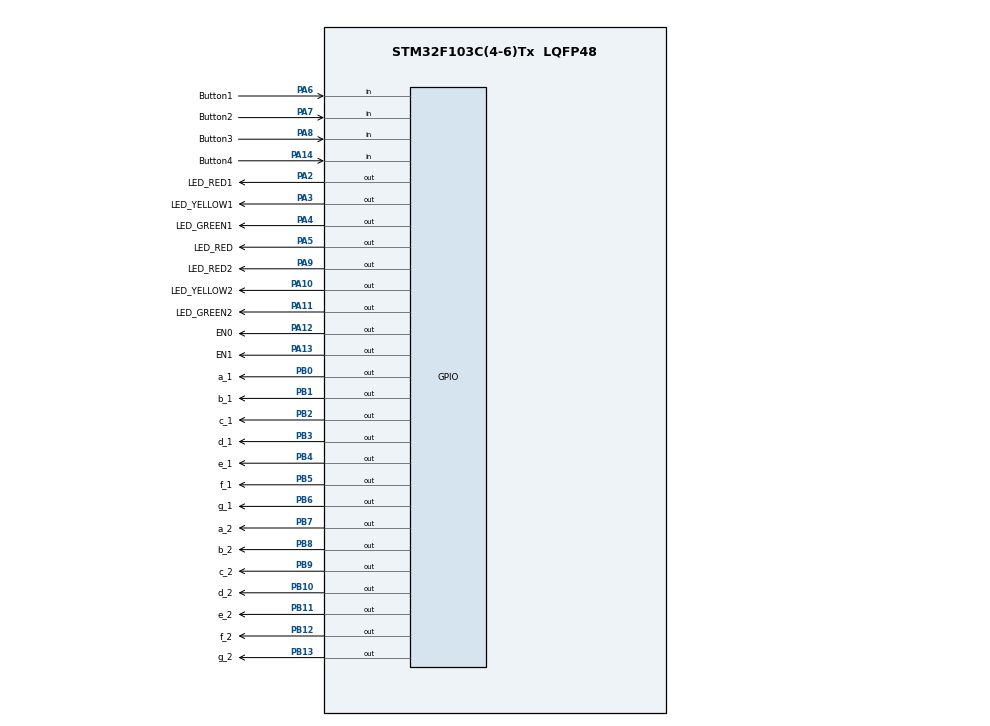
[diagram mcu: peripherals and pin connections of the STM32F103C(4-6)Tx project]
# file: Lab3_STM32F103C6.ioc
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Mcu.Family=STM32F1
Mcu.Name=STM32F103C(4-6)Tx
Mcu.Package=LQFP48
NVIC.PriorityGroup=NVIC_PRIORITYGROUP_4
NVIC.TIM2_IRQn=true\:0\:0\:false\:false\:true\:true\:true
PA10.GPIO_Label=LED_YELLOW2
PA10.Signal=GPIO_Output
PA11.GPIO_Label=LED_GREEN2
PA11.Signal=GPIO_Output
PA12.GPIO_Label=EN0
PA12.Signal=GPIO_Output
PA13.GPIO_Label=EN1
PA13.Signal=GPIO_Output
PA14.GPIO_Label=Button4
PA14.GPIO_PuPd=GPIO_PULLUP
PA14.Signal=GPIO_Input
PA2.GPIO_Label=LED_RED1
PA2.Signal=GPIO_Output
PA3.GPIO_Label=LED_YELLOW1
PA3.Signal=GPIO_Output
PA4.GPIO_Label=LED_GREEN1
PA4.Signal=GPIO_Output
PA5.GPIO_Label=LED_RED
PA5.Signal=GPIO_Output
PA6.GPIO_Label=Button1
PA6.GPIO_PuPd=GPIO_PULLUP
PA6.Signal=GPIO_Input
PA7.GPIO_Label=Button2
PA7.GPIO_PuPd=GPIO_PULLUP
PA7.Signal=GPIO_Input
PA8.GPIO_Label=Button3
PA8.GPIO_PuPd=GPIO_PULLUP
PA8.Signal=GPIO_Input
PA9.GPIO_Label=LED_RED2
PA9.Signal=GPIO_Output
PB0.GPIO_Label=a_1
PB0.Signal=GPIO_Output
PB1.GPIO_Label=b_1
PB1.Signal=GPIO_Output
PB10.GPIO_Label=d_2
PB10.Signal=GPIO_Output
PB11.GPIO_Label=e_2
PB11.Signal=GPIO_Output
PB12.GPIO_Label=f_2
PB12.Signal=GPIO_Output
PB13.GPIO_Label=g_2
PB13.Signal=GPIO_Output
PB2.GPIO_Label=c_1
PB2.Signal=GPIO_Output
PB3.GPIO_Label=d_1
PB3.Signal=GPIO_Output
PB4.GPIO_Label=e_1
PB4.Signal=GPIO_Output
PB5.GPIO_Label=f_1
PB5.Signal=GPIO_Output
PB6.GPIO_Label=g_1
PB6.Signal=GPIO_Output
PB7.GPIO_Label=a_2
PB7.Signal=GPIO_Output
PB8.GPIO_Label=b_2
PB8.Signal=GPIO_Output
PB9.GPIO_Label=c_2
PB9.Signal=GPIO_Output
ProjectManager.HeapSize=0x200
ProjectManager.StackSize=0x400
ProjectManager.TargetToolchain=STM32CubeIDE
RCC.APB1Freq_Value=8000000
RCC.APB2Freq_Value=8000000
TIM2.Period=9
TIM2.Prescaler=7999
VP_SYS_VS_ND.Mode=No_Debug
VP_TIM2_VS_ClockSourceINT.Mode=Internal
board=custom

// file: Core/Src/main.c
/* USER CODE BEGIN Header */
/**
  ******************************************************************************
  * @file           : main.c
  * @brief          : Main program body
  ******************************************************************************
  * @attention
  *
  * <h2><center>&copy; Copyright (c) 2025 STMicroelectronics.
  * All rights reserved.</center></h2>
  *
  * This software component is licensed by ST under BSD 3-Clause license,
  * the "License"; You may not use this file except in compliance with the
  * License. You may obtain a copy of the License at:
  *                        opensource.org/licenses/BSD-3-Clause
  *
  ******************************************************************************
  */
/* USER CODE END Header */
#include "main.h"

/* USER CODE BEGIN Includes */
#include "global.h"
/* USER CODE END Includes */

TIM_HandleTypeDef htim2;

void SystemClock_Config(void);
static void MX_GPIO_Init(void);
static void MX_TIM2_Init(void);

int main(void)
{

  /* MCU Configuration--------------------------------------------------------*/

  /* Reset of all peripherals, Initializes the Flash interface and the Systick. */
  HAL_Init();

  /* Configure the system clock */
  SystemClock_Config();

  /* Initialize all configured peripherals */
  MX_GPIO_Init();
  MX_TIM2_Init();
  /* USER CODE BEGIN 2 */
  HAL_TIM_Base_Start_IT(&htim2);
  status1 = INIT;
  status2 = INIT;
  setTimer(0, 100); // Blink PA5 LED
  setTimer(3, 50); // Blink 7SEG and single LEDs when moding
  HAL_GPIO_WritePin(EN0_GPIO_Port, EN0_Pin, RESET);
  HAL_GPIO_WritePin(EN1_GPIO_Port, EN1_Pin, RESET);
  /* USER CODE END 2 */

  /* Infinite loop */
  while (1)
  {

    /* USER CODE BEGIN 3 */
	  if (isTimeExpired(0) == 1)
	  {
		  setTimer(0, 100);
		  HAL_GPIO_TogglePin(LED_RED_GPIO_Port, LED_RED_Pin);
	  }

	  fsm_automatic_run();
	  fsm_manual_run();
	  fsm_config();
  }
  /* USER CODE END 3 */
}

void SystemClock_Config(void)
{
  RCC_OscInitTypeDef RCC_OscInitStruct = {0};
  RCC_ClkInitTypeDef RCC_ClkInitStruct = {0};

  /** Initializes the RCC Oscillators according to the specified parameters
  * in the RCC_OscInitTypeDef structure.
  */
  RCC_OscInitStruct.OscillatorType = RCC_OSCILLATORTYPE_HSI;
  RCC_OscInitStruct.HSIState = RCC_HSI_ON;
  RCC_OscInitStruct.HSICalibrationValue = RCC_HSICALIBRATION_DEFAULT;
  RCC_OscInitStruct.PLL.PLLState = RCC_PLL_NONE;
  if (HAL_RCC_OscConfig(&RCC_OscInitStruct) != HAL_OK)
  {
    Error_Handler();
  }
  /** Initializes the CPU, AHB and APB buses clocks
  */
  RCC_ClkInitStruct.ClockType = RCC_CLOCKTYPE_HCLK|RCC_CLOCKTYPE_SYSCLK
                              |RCC_CLOCKTYPE_PCLK1|RCC_CLOCKTYPE_PCLK2;
  RCC_ClkInitStruct.SYSCLKSource = RCC_SYSCLKSOURCE_HSI;
  RCC_ClkInitStruct.AHBCLKDivider = RCC_SYSCLK_DIV1;
  RCC_ClkInitStruct.APB1CLKDivider = RCC_HCLK_DIV1;
  RCC_ClkInitStruct.APB2CLKDivider = RCC_HCLK_DIV1;

  if (HAL_RCC_ClockConfig(&RCC_ClkInitStruct, FLASH_LATENCY_0) != HAL_OK)
  {
    Error_Handler();
  }
}

static void MX_TIM2_Init(void)
{

  TIM_ClockConfigTypeDef sClockSourceConfig = {0};
  TIM_MasterConfigTypeDef sMasterConfig = {0};

  htim2.Instance = TIM2;
  htim2.Init.Prescaler = 7999;
  htim2.Init.CounterMode = TIM_COUNTERMODE_UP;
  htim2.Init.Period = 9;
  htim2.Init.ClockDivision = TIM_CLOCKDIVISION_DIV1;
  htim2.Init.AutoReloadPreload = TIM_AUTORELOAD_PRELOAD_DISABLE;
  if (HAL_TIM_Base_Init(&htim2) != HAL_OK)
  {
    Error_Handler();
  }
  sClockSourceConfig.ClockSource = TIM_CLOCKSOURCE_INTERNAL;
  if (HAL_TIM_ConfigClockSource(&htim2, &sClockSourceConfig) != HAL_OK)
  {
    Error_Handler();
  }
  sMasterConfig.MasterOutputTrigger = TIM_TRGO_RESET;
  sMasterConfig.MasterSlaveMode = TIM_MASTERSLAVEMODE_DISABLE;
  if (HAL_TIMEx_MasterConfigSynchronization(&htim2, &sMasterConfig) != HAL_OK)
  {
    Error_Handler();
  }

}

static void MX_GPIO_Init(void)
{
  GPIO_InitTypeDef GPIO_InitStruct = {0};

  /* GPIO Ports Clock Enable */
  __HAL_RCC_GPIOA_CLK_ENABLE();
  __HAL_RCC_GPIOB_CLK_ENABLE();

  /*Configure GPIO pin Output Level */
  HAL_GPIO_WritePin(GPIOA, LED_RED1_Pin|LED_YELLOW1_Pin|LED_GREEN1_Pin|LED_RED_Pin
                          |LED_RED2_Pin|LED_YELLOW2_Pin|LED_GREEN2_Pin|EN0_Pin
                          |EN1_Pin, GPIO_PIN_RESET);

  /*Configure GPIO pin Output Level */
  HAL_GPIO_WritePin(GPIOB, a_1_Pin|b_1_Pin|c_1_Pin|d_2_Pin
                          |e_2_Pin|f_2_Pin|g_2_Pin|d_1_Pin
                          |e_1_Pin|f_1_Pin|g_1_Pin|a_2_Pin
                          |b_2_Pin|c_2_Pin, GPIO_PIN_RESET);

  /*Configure GPIO pins : LED_RED1_Pin LED_YELLOW1_Pin LED_GREEN1_Pin LED_RED_Pin
                           LED_RED2_Pin LED_YELLOW2_Pin LED_GREEN2_Pin EN0_Pin
                           EN1_Pin */
  GPIO_InitStruct.Pin = LED_RED1_Pin|LED_YELLOW1_Pin|LED_GREEN1_Pin|LED_RED_Pin
                          |LED_RED2_Pin|LED_YELLOW2_Pin|LED_GREEN2_Pin|EN0_Pin
                          |EN1_Pin;
  GPIO_InitStruct.Mode = GPIO_MODE_OUTPUT_PP;
  GPIO_InitStruct.Pull = GPIO_NOPULL;
  GPIO_InitStruct.Speed = GPIO_SPEED_FREQ_LOW;
  HAL_GPIO_Init(GPIOA, &GPIO_InitStruct);

  /*Configure GPIO pins : Button1_Pin Button2_Pin Button3_Pin Button4_Pin */
  GPIO_InitStruct.Pin = Button1_Pin|Button2_Pin|Button3_Pin|Button4_Pin;
  GPIO_InitStruct.Mode = GPIO_MODE_INPUT;
  GPIO_InitStruct.Pull = GPIO_PULLUP;
  HAL_GPIO_Init(GPIOA, &GPIO_InitStruct);

  /*Configure GPIO pins : a_1_Pin b_1_Pin c_1_Pin d_2_Pin
                           e_2_Pin f_2_Pin g_2_Pin d_1_Pin
                           e_1_Pin f_1_Pin g_1_Pin a_2_Pin
                           b_2_Pin c_2_Pin */
  GPIO_InitStruct.Pin = a_1_Pin|b_1_Pin|c_1_Pin|d_2_Pin
                          |e_2_Pin|f_2_Pin|g_2_Pin|d_1_Pin
                          |e_1_Pin|f_1_Pin|g_1_Pin|a_2_Pin
                          |b_2_Pin|c_2_Pin;
  GPIO_InitStruct.Mode = GPIO_MODE_OUTPUT_PP;
  GPIO_InitStruct.Pull = GPIO_NOPULL;
  GPIO_InitStruct.Speed = GPIO_SPEED_FREQ_LOW;
  HAL_GPIO_Init(GPIOB, &GPIO_InitStruct);

}

/* USER CODE BEGIN 4 */
void HAL_TIM_PeriodElapsedCallback(TIM_HandleTypeDef *htim)
{
	timerRun();
	readButton();
}
/* USER CODE END 4 */

void Error_Handler(void)
{
  __disable_irq();
  while (1)
  {
  }
}

/************************ (C) COPYRIGHT STMicroelectronics *****END OF FILE****/
